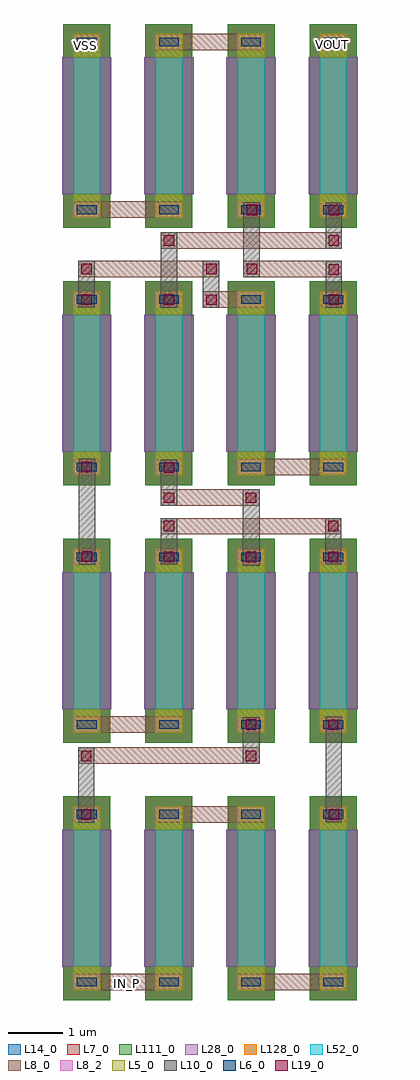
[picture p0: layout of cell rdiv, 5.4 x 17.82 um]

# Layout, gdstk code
import gdstk
lib = gdstk.Library(unit=1e-6, precision=1e-09)
def R(c, l, rs):  # rectangles x0, y0, x1, y1
    for r in rs: c.add(gdstk.rectangle(r[:2], r[2:], *l))
def A(c, l, x, y, w, h, nx, ny, dx, dy):  # array of equal rectangles
    R(c, l, [(x+i*dx, y+j*dy, x+i*dx+w, y+j*dy+h) for i in range(nx) for j in range(ny)])
L5_0 = (5, 0)
L6_0 = (6, 0)
L7_0 = (7, 0)
L8_0 = (8, 0)
L8_2 = (8, 2)
L10_0 = (10, 0)
L14_0 = (14, 0)
L19_0 = (19, 0)
L28_0 = (28, 0)
L52_0 = (52, 0)
L111_0 = (111, 0)
L128_0 = (128, 0)

rhigh_4 = lib.new_cell('rhigh$4')
R(rhigh_4, L5_0, [(0,-0.43,0.5,0), (0,2.5,0.5,2.93)])
R(rhigh_4, L6_0, [(0.07,-0.36,0.43,-0.2), (0.07,2.7,0.43,2.86)])
R(rhigh_4, L7_0, [(-0.18,-0.61,0.68,0.18), (-0.18,0,0.68,2.5), (-0.18,0,0.68,2.5), (-0.18,2.32,0.68,3.11)])
R(rhigh_4, L8_0, [(0.02,-0.41,0.48,-0.15), (0.02,2.65,0.48,2.91)])
R(rhigh_4, L8_2, [(0.02,-0.41,0.48,-0.15), (0.02,-0.41,0.48,-0.15), (0.02,2.65,0.48,2.91), (0.02,2.65,0.48,2.91)])
R(rhigh_4, L14_0, [(-0.18,-0.61,0.68,0.18), (-0.18,0,0.68,2.5), (-0.18,0,0.68,2.5), (-0.18,2.32,0.68,3.11)])
R(rhigh_4, L28_0, [(-0.2,0,0.7,2.5)])
R(rhigh_4, L52_0, [(0,0,0.5,2.5)])
R(rhigh_4, L111_0, [(-0.18,-0.61,0.68,0.18), (-0.2,0,0.7,2.5), (-0.18,2.32,0.68,3.11)])
R(rhigh_4, L128_0, [(0,0,0.5,2.5)])
rhigh_4.add(gdstk.Label('rpnd r=7711.304', (0.25,1.25), layer=63, texttype=0))
rhigh_4.add(gdstk.Label('rhigh', (0.25,1.25), layer=52, texttype=0))

rdiv = lib.new_cell('rdiv')
R(rdiv, L8_0, [(14.025,3.8,16.025,4.1), (17.025,3.8,19.025,4.1), (15.525,6.86,17.525,7.16), (14.12,7.935,17.43,8.235), (14.025,8.5,16.025,8.8), (15.625,12.12,18.925,12.42), (15.63,12.645,17.43,12.945), (17.025,13.2,19.025,13.5), (16.395,16.26,17.525,16.565), (14.12,16.815,16.695,17.115), (17.135,16.82,18.935,17.115), (15.625,17.335,18.935,17.64), (14.025,17.9,16.025,18.2), (15.525,20.96,17.525,21.26)])
R(rdiv, L10_0, [(14.12,6.86,14.415,8.235), (18.635,6.865,18.935,8.795), (17.125,7.935,17.43,8.78), (17.125,11.55,17.43,12.945), (14.125,11.57,14.43,13.505), (15.625,11.58,15.93,12.42), (18.63,11.58,18.925,12.42), (15.63,12.645,15.925,13.485), (15.625,16.255,15.925,17.64), (16.395,16.26,16.695,17.115), (18.635,16.26,18.935,17.115), (14.12,16.265,14.42,17.115), (17.135,16.82,17.435,18.19), (18.635,17.335,18.935,18.18)])
A(rdiv, L19_0, 15.68, 11.615, 0.19, 0.19, 3, 1, 1.5, 0)
R(rdiv, L19_0, [(14.17,6.915,14.36,7.105), (18.695,6.915,18.885,7.105), (14.17,7.98,14.36,8.17), (17.18,7.98,17.37,8.17), (18.68,8.55,18.87,8.74), (17.18,8.555,17.37,8.745), (14.185,11.62,14.375,11.81), (15.68,12.18,15.87,12.37), (18.68,12.18,18.87,12.37), (15.68,12.695,15.87,12.885), (17.18,12.695,17.37,12.885), (15.685,13.245,15.875,13.435), (14.175,13.255,14.365,13.445), (14.175,16.31,14.365,16.5), (16.455,16.31,16.645,16.5), (18.69,16.31,18.88,16.5), (15.68,16.315,15.87,16.505), (18.69,16.865,18.88,17.055), (14.175,16.875,14.365,17.065), (16.455,16.875,16.645,17.065), (17.195,16.875,17.385,17.065), (15.68,17.39,15.87,17.58), (18.69,17.39,18.88,17.58), (17.195,17.95,17.385,18.14), (18.695,17.95,18.885,18.14)])
r = gdstk.Reference(rhigh_4, (14.025,4.23)); r.repetition = gdstk.Repetition(4, 4, v1=(1.5,0), v2=(0,4.7)); rdiv.add(r)
rdiv.add(gdstk.Label('VOUT', (18.765,21.058), layer=8, texttype=1))
rdiv.add(gdstk.Label('VSS', (14.257,21.048), layer=8, texttype=1))
rdiv.add(gdstk.Label('IN_P', (14.994,3.915), layer=8, texttype=1))

lib.write_gds('rdiv.gds')
